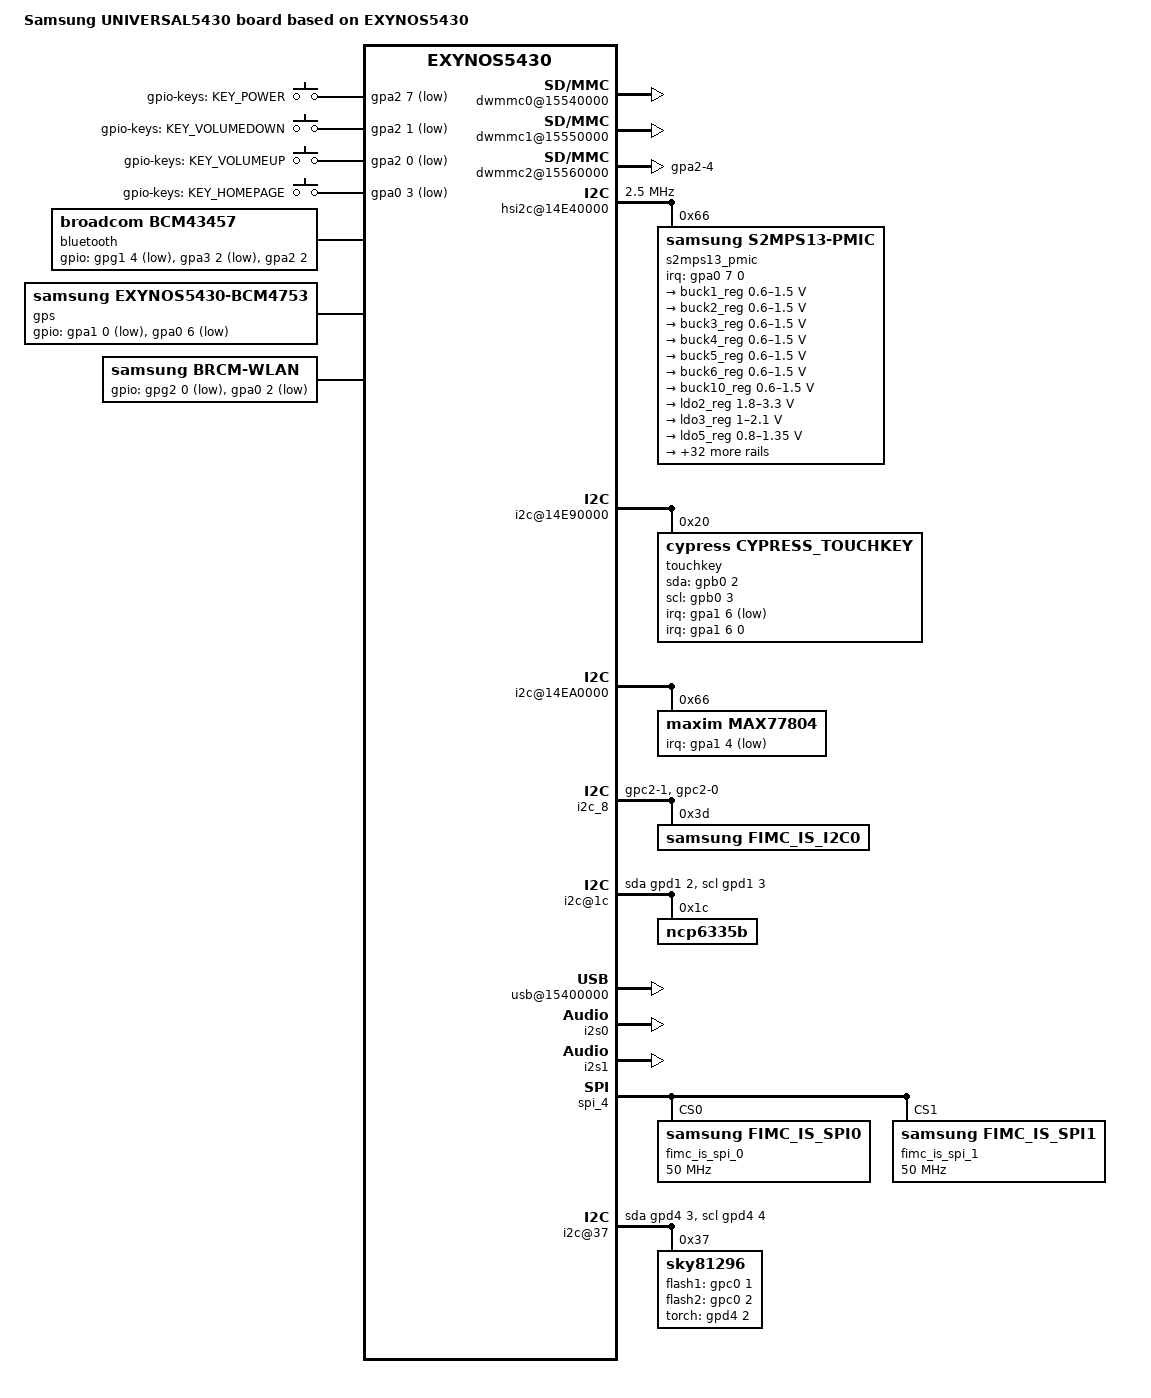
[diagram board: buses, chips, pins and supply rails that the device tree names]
/*
 * SAMSUNG UNIVERSAL5430 board device tree source
 *
 * Copyright (c) 2013 Samsung Electronics Co., Ltd.
 *		http://www.samsung.com
 *
 * This program is free software; you can redistribute it and/or modify
 * it under the terms of the GNU General Public License version 2 as
 * published by the Free Software Foundation.
*/

#include "exynos5430_evt0.dtsi"

/ {
	model = "Samsung UNIVERSAL5430 board based on EXYNOS5430";
	compatible = "samsung,UNIVERSAL5430", "samsung,exynos5430";

	chosen {
		bootargs = "console=ttySAC1,115200 vmalloc=512M";
	};

	fixed-rate-clocks {
		oscclk {
			compatible = "samsung,exynos5430-oscclk";
			clock-frequency = <24000000>;
		};
	};

	dwmmc0@15540000 {
		status = "okay";
		num-slots = <1>;
		broken-cd;
		bypass-smu;
		fixed_volt;
		only_once_tune;
		supports-highspeed;
		supports-hs200-mode;
		extra_tuning;
		fifo-depth = <0x80>;
		card-detect-delay = <200>;
		samsung,dw-mshc-ciu-div = <3>;
		samsung,dw-mshc-sdr-timing = <0 4 3>;
		samsung,dw-mshc-ddr-timing = <0 2 3>;
		samsung,dw-mshc-hs200-timing = <0 2 3>;
		samsung,dw-mshc-ddr200-timing = <0 2 1>;
		num-ref-clks = <8>;
		ciu_clkin = <25 50 50 100 200 100 200 400>;
		pinctrl-names = "default";
		pinctrl-0 = <&sd0_clk &sd0_cmd &sd0_rdqs &sd0_bus1 &sd0_bus4 &sd0_bus8>;

		slot@0 {
			reg = <0>;
			bus-width = <8>;
		};
	};

	dwmmc1@15550000 {
		status = "okay";
		num-slots = <1>;
		fixed_volt;
		only_once_tune;
		supports-highspeed;
		supports-sdr104-mode;
		keep-power-in-suspend;
		pm-ignore-notify;
		cd-type-external;
		fifo-depth = <0x40>;
		card-detect-delay = <200>;
		samsung,dw-mshc-ciu-div = <3>;
		samsung,dw-mshc-sdr-timing = <2 3 3>;
		samsung,dw-mshc-ddr-timing = <1 2 3>;
		num-ref-clks = <8>;
		ciu_clkin = <25 50 50 100 200 100 200 400>;
		pinctrl-names = "default";
		pinctrl-0 = <&sd1_clk &sd1_cmd &sd1_bus1 &sd1_bus4>;

		slot@0 {
			reg = <0>;
			bus-width = <4>;
		};
	};


	dwmmc2@15560000 {
		status = "okay";
		num-slots = <1>;
		supports-highspeed;
		fifo-depth = <0x40>;
		card-detect-delay = <200>;
		samsung,dw-mshc-ciu-div = <3>;
		samsung,dw-mshc-sdr-timing = <2 3 3>;
		samsung,dw-mshc-ddr-timing = <1 2 3>;
		num-ref-clks = <8>;
		ciu_clkin = <25 50 50 100 200 100 200 400>;
		pinctrl-names = "default";
		pinctrl-0 = <&sd2_clk &sd2_cmd &sd2_cd &sd2_bus1 &sd2_bus4 &dwmmc2_cd_irq>;

		gpio-controller;
		#gpio-cells = <2>;
		cd-gpio = <&gpa2 4 0xf>;

		slot@0 {
			reg = <0>;
			bus-width = <4>;
			disable-wp;
		};
	};

	pinctrl@10580000 {
		pmic_irq: pmic-irq {
			samsung,pins = "gpa0-7";
			samsung,pin-function = <0>;
			samsung,pin-pud = <3>;
			samsung,pin-drv = <3>;
		};

		chg_irq: chg-irq {
			samsung,pins = "gpa0-0";
			samsung,pin-function = <0>;
			samsung,pin-pud = <3>;
			samsung,pin-drv = <3>;
		};

		mfd_irq: mfd-irq {
			samsung,pins = "gpa1-4";
			samsung,pin-function = <0>;
			samsung,pin-pud = <0>;
			samsung,pin-drv = <0>;
		};

		fuel_irq: fuel-irq {
			samsung,pins = "gpa1-5";
			samsung,pin-function = <0>;
			samsung,pin-pud = <0>;
			samsung,pin-drv = <0>;
		};

		btp_irq: btp-irq {
			samsung,pins = "gpa1-7";
			samsung,pin-function = <0>;
			samsung,pin-pud = <3>;
			samsung,pin-drv = <3>;
		};

		dwmmc2_cd_irq: dwmmc2-cd-irq {
			samsung,pins = "gpa2-4";
			samsung,pin-function = <0>;
			samsung,pin-pud = <3>;
			samsung,pin-drv = <3>;
		};

		btp_reset: btp-reset {
			samsung,pins = "gpa3-1";
			samsung,pin-function = <0>;
			samsung,pin-pud = <3>;
			samsung,pin-drv = <3>;
		};
		ssp_irq: ssp-irq {
			samsung,pins = "gpa3-3";
			samsung,pin-function = <0xf>;
			samsung,pin-pud = <3>;
			samsung,pin-drv = <3>;
		};
		ssp_irq2: ssp-irq2 {
			samsung,pins = "gpa3-4";
			samsung,pin-function = <0>;
			samsung,pin-pud = <3>;
			samsung,pin-drv = <3>;
		};
		ssp_ap_int: ssp-ap-int {
			samsung,pins = "gpa3-7";
			samsung,pin-function = <0>;
			samsung,pin-pud = <3>;
			samsung,pin-drv = <3>;
		};
		hrm_int: hrm-int {
			samsung,pins = "gpa0-6";
			samsung,pin-function = <0>;
			samsung,pin-pud = <0>;
			samsung,pin-drv = <3>;
		};
	};
	pinctrl@14CC0000 {
		/* Warm reset information from AP */
		pm_wrsti: pm-wrsti {
			samsung,pins = "gpf5-4";
			samsung,pin-con-pdn = <3>;
		};
	};
	pinctrl@14CC0000 {
		/* touchkey i2c*/
		cfg_i2c: cfg-i2c {
			samsung,pins = "gpb0-3", "gpb0-2";
			samsung,pin-function = <3>;
			samsung,pin-pud = <0>;
			samsung,pin-drv = <0>;
		};
		cfg_gpio: cfg_gpio {
			samsung,pins = "gpb0-3", "gpb0-2";
			samsung,pin-function = <0>;
			samsung,pin-pud = <0>;
			samsung,pin-drv = <0>;
		};
	};

	pinctrl@10580000 {
		/* touchkey interrupt*/
		cfg_irq: cfg-irq {
			samsung,pins = "gpa1-6";
			samsung,pin-function = <0xf>;
			samsung,pin-pud = <0>;
			samsung,pin-drv = <0>;
		};
		cfg_input: cfg-input {
			samsung,pins = "gpa1-6";
			samsung,pin-function = <0>;
			samsung,pin-pud = <1>;
			samsung,pin-drv = <0>;
		};
	};

	hsi2c@14E40000 {
		samsung,hs-mode;
		clock-frequency = <2500000>;
		status = "okay";

		s2mps13_pmic@66 {
			compatible = "samsung,s2mps13-pmic";
			reg = <0x66>;
			interrupts = <7 0 0>;
			interrupt-parent = <&gpa0>;
			pinctrl-names = "default";
			pinctrl-0 = <&pmic_irq &pm_wrsti>;
			wtsr_smpl = <1>;

			regulators {
				buck1_reg: BUCK1 {
					regulator-name = "vdd_mif";
					regulator-min-microvolt = <600000>;
					regulator-max-microvolt = <1500000>;
					regulator-always-on;
					regulator-boot-on;
					regulator-ramp-delay = <12000>;
					regulator-initial-mode = <1>;
				};

				buck2_reg: BUCK2 {
					regulator-name = "vdd_eagle";
					regulator-min-microvolt = <600000>;
					regulator-max-microvolt = <1500000>;
					regulator-always-on;
					regulator-boot-on;
					regulator-ramp-delay = <12000>;
					regulator-initial-mode = <1>;
				};

				buck3_reg: BUCK3 {
					regulator-name = "vdd_kfc";
					regulator-min-microvolt = <600000>;
					regulator-max-microvolt = <1500000>;
					regulator-always-on;
					regulator-boot-on;
					regulator-ramp-delay = <12000>;
					regulator-initial-mode = <1>;
				};

				buck4_reg: BUCK4 {
					regulator-name = "vdd_int";
					regulator-min-microvolt = <600000>;
					regulator-max-microvolt = <1500000>;
					regulator-always-on;
					regulator-boot-on;
					regulator-ramp-delay = <12000>;
					regulator-initial-mode = <1>;
				};

				buck5_reg: BUCK5 {
					regulator-name = "vdd_disp_cam0";
					regulator-min-microvolt = <600000>;
					regulator-max-microvolt = <1500000>;
					regulator-always-on;
					regulator-boot-on;
					regulator-ramp-delay = <12000>;
					regulator-initial-mode = <1>;
				};

				buck6_reg: BUCK6 {
					regulator-name = "vdd_g3d";
					regulator-min-microvolt = <600000>;
					regulator-max-microvolt = <1500000>;
					regulator-always-on;
					regulator-boot-on;
					regulator-ramp-delay = <12000>;
					regulator-initial-mode = <1>;
				};

				buck10_reg: BUCK10 {
					regulator-name = "vdd_mem2";
					regulator-min-microvolt = <600000>;
					regulator-max-microvolt = <1500000>;
					regulator-always-on;
					regulator-boot-on;
					regulator-ramp-delay = <12000>;
					regulator-initial-mode = <1>;
				};

				ldo2_reg: LDO2 {
					regulator-name = "vqmmc";
					regulator-min-microvolt = <1800000>;
					regulator-max-microvolt = <3300000>;
					regulator-boot-on;
					regulator-ramp-delay = <12000>;
					regulator-initial-mode = <1>;
				};

				ldo3_reg: LDO3 {
					regulator-name = "vdd_ldo3";
					regulator-min-microvolt = <1000000>;
					regulator-max-microvolt = <2100000>;
					regulator-always-on;
					regulator-initial-mode = <3>;
				};

				ldo5_reg: LDO5 {
					regulator-name = "vdd_ldo5";
					regulator-min-microvolt = <800000>;
					regulator-max-microvolt = <1350000>;
					regulator-always-on;
					regulator-initial-mode = <1>;
				};

				ldo6_reg: LDO6 {
					regulator-name = "vdd_ldo6";
					regulator-min-microvolt = <800000>;
					regulator-max-microvolt = <1350000>;
					regulator-always-on;
					regulator-initial-mode = <1>;
				};

				ldo7_reg: LDO7 {
					regulator-name = "vdd_ldo7";
					regulator-min-microvolt = <1000000>;
					regulator-max-microvolt = <2100000>;
					regulator-always-on;
					regulator-initial-mode = <1>;
				};

				ldo8_reg: LDO8 {
					regulator-name = "vdd_ldo8";
					regulator-min-microvolt = <1000000>;
					regulator-max-microvolt = <2100000>;
					regulator-always-on;
					regulator-initial-mode = <3>;
				};

				ldo9_reg: LDO9 {
					regulator-name = "vdd_ldo9";
					regulator-min-microvolt = <1000000>;
					regulator-max-microvolt = <2100000>;
					regulator-always-on;
					regulator-initial-mode = <1>;
				};

				ldo10_reg: LDO10 {
					regulator-name = "vdd_ldo10";
					regulator-min-microvolt = <1400000>;
					regulator-max-microvolt = <3400000>;
					regulator-always-on;
					regulator-initial-mode = <1>;
				};

				ldo11_reg: LDO11 {
					regulator-name = "vdd_ldo11";
					regulator-min-microvolt = <800000>;
					regulator-max-microvolt = <1350000>;
					regulator-always-on;
					regulator-initial-mode = <1>;
				};

				ldo12_reg: LDO12 {
					regulator-name = "vdd_ldo12";
					regulator-min-microvolt = <800000>;
					regulator-max-microvolt = <1350000>;
					regulator-always-on;
					regulator-initial-mode = <1>;
				};

				ldo13_reg: LDO13 {
					regulator-name = "vdd_ldo13";
					regulator-min-microvolt = <800000>;
					regulator-max-microvolt = <1350000>;
					regulator-always-on;
					regulator-initial-mode = <1>;
				};

				ldo14_reg: LDO14 {
					regulator-name = "vdd_ldo14";
					regulator-min-microvolt = <800000>;
					regulator-max-microvolt = <1350000>;
					regulator-always-on;
					regulator-initial-mode = <1>;
				};

				ldo15_reg: LDO15 {
					regulator-name = "vdd_ldo15";
					regulator-min-microvolt = <800000>;
					regulator-max-microvolt = <1350000>;
					regulator-always-on;
					regulator-initial-mode = <1>;
				};

				ldo16_reg: LDO16 {
					regulator-name = "vdd_ldo16";
					regulator-min-microvolt = <1400000>;
					regulator-max-microvolt = <3400000>;
					regulator-always-on;
					regulator-initial-mode = <1>;
				};

				ldo17_reg: LDO17 {
					regulator-name = "vdd_vmmc";
					regulator-min-microvolt = <1400000>;
					regulator-max-microvolt = <3400000>;
					regulator-always-on;
					regulator-initial-mode = <1>;
				};

				ldo18_reg: LDO18 {
					regulator-name = "vdd_ldo18";
					regulator-min-microvolt = <1000000>;
					regulator-max-microvolt = <2100000>;
					regulator-always-on;
					regulator-initial-mode = <3>;
				};

				ldo19_reg: LDO19 {
					regulator-name = "VDDA_1.8V_COMP";
					regulator-min-microvolt = <1800000>;
					regulator-max-microvolt = <1800000>;
					regulator-initial-mode = <3>;
				};

				ldo20_reg: LDO20 {
					regulator-name = "vdd_ldo20";
					regulator-min-microvolt = <1400000>;
					regulator-max-microvolt = <3400000>;
					regulator-always-on;
					regulator-initial-mode = <3>;
				};

				ldo21_reg: LDO21 {
					regulator-name = "VT_CAM_1.8V";
					regulator-min-microvolt = <1800000>;
					regulator-max-microvolt = <1800000>;
					regulator-initial-mode = <3>;
				};

				ldo22_reg: LDO22 {
					regulator-name = "CAM_IO_1.8V_AP";
					regulator-min-microvolt = <1800000>;
					regulator-max-microvolt = <1800000>;
					regulator-initial-mode = <3>;
				};

				ldo23_reg: LDO23 {
					regulator-name = "CAM_SEN_CORE_1.2V_AP";
					regulator-min-microvolt = <1200000>;
					regulator-max-microvolt = <1200000>;
					regulator-initial-mode = <3>;
				};

				ldo24_reg: LDO24 {
					regulator-name = "VT_CAM_1.2V";
					regulator-min-microvolt = <1200000>;
					regulator-max-microvolt = <1200000>;
					regulator-initial-mode = <3>;
				};

				ldo25_reg: LDO25 {
					regulator-name = "CAM_SEN_A2.8V_AP";
					regulator-min-microvolt = <2800000>;
					regulator-max-microvolt = <2800000>;
					regulator-initial-mode = <3>;
				};

				ldo26_reg: LDO26 {
					regulator-name = "CAM_AF_2.8V_AP";
					regulator-min-microvolt = <2800000>;
					regulator-max-microvolt = <2800000>;
					regulator-initial-mode = <3>;
				};

				ldo27_reg: LDO27 {
					regulator-name = "vdd_ldo27";
					regulator-min-microvolt = <1400000>;
					regulator-max-microvolt = <3400000>;
					regulator-always-on;
					regulator-initial-mode = <3>;
				};

				ldo28_reg: LDO28 {
					regulator-name = "vdd_ldo28";
					regulator-min-microvolt = <1000000>;
					regulator-max-microvolt = <2100000>;
					regulator-always-on;
					regulator-initial-mode = <3>;
				};

				ldo29_reg: LDO29 {
					regulator-name = "VT_CAM_2.8V";
					regulator-min-microvolt = <2800000>;
					regulator-max-microvolt = <2800000>;
					regulator-always-on;
					regulator-initial-mode = <3>;
				};

				ldo30_reg: LDO30 {
					regulator-name = "tsp_avdd";
					regulator-min-microvolt = <1400000>;
					regulator-max-microvolt = <3400000>;
					regulator-initial-mode = <3>;
				};

				ldo31_reg: LDO31 {
					regulator-name = "tsp_io";
					regulator-min-microvolt = <1000000>;
					regulator-max-microvolt = <2100000>;
					regulator-initial-mode = <3>;
				};

				ldo32_reg: LDO32 {
					regulator-name = "vtouch_1.8v";
					regulator-min-microvolt = <1000000>;
					regulator-max-microvolt = <2100000>;
					regulator-initial-mode = <3>;
				};

				ldo33_reg: LDO33 {
					regulator-name = "vtouch_3.3v";
					regulator-min-microvolt = <1400000>;
					regulator-max-microvolt = <3400000>;
					regulator-initial-mode = <3>;
				};

				ldo34_reg: LDO34 {
					regulator-name = "vdd_ldo34";
					regulator-min-microvolt = <1000000>;
					regulator-max-microvolt = <2100000>;
					regulator-always-on;
					regulator-initial-mode = <3>;
				};
				ldo36_reg: LDO36 {
					regulator-name = "vdd_ldo36";
					regulator-min-microvolt = <800000>;
					regulator-max-microvolt = <1350000>;
					regulator-always-on;
					regulator-initial-mode = <3>;
				};

				ldo37_reg: LDO37 {
					regulator-name = "vdd_ldo37";
					regulator-min-microvolt = <1000000>;
					regulator-max-microvolt = <2100000>;
					regulator-always-on;
					regulator-initial-mode = <3>;
				};

				ldo38_reg: LDO38 {
					regulator-name = "vdd_ldo38";
					regulator-min-microvolt = <1400000>;
					regulator-max-microvolt = <3400000>;
					regulator-always-on;
					regulator-initial-mode = <3>;
				};
			};
		};
	};

	i2c@14E90000 {
		samsung,i2c-sda-delay = <100>;
		samsung,i2c-max-bus-freq = <400000>;
		status = "okay";
		pinctrl-names = "default","on_i2c","off_i2c";
		pinctrl-0 = <&i2c5_bus>;
		pinctrl-1 = <&cfg_i2c>;
		pinctrl-2 = <&cfg_gpio>;
		touchkey@20 {
			pinctrl-names = "on_irq","off_irq";
			pinctrl-0 = <&cfg_irq>;
			pinctrl-1 = <&cfg_input>;
			compatible = "cypress,cypress_touchkey";
			reg = <0x20>;
			interrupts = <6 0 0>;
			interrupt-parent = <&gpa1>;
			cypress,sda-gpio = <&gpb0 2 0>;
			cypress,scl-gpio = <&gpb0 3 0>;
			cypress,irq-gpio = <&gpa1 6 1>;
		};
	};

	i2c@14EA0000 {
		samsung,i2c-sda-delay = <100>;
		samsung,i2c-max-bus-freq = <400000>;
		status = "okay";
		max77804@66 {
			compatible = "maxim,max77804";
			reg = <0x66>;
			pinctrl-names = "default";
			pinctrl-0 = <&mfd_irq>;
			max77804,irq-gpio = <&gpa1 4 1>;
			max77804,wakeup;
		};
	};

	i2c_8: i2c@14130000 {
                compatible = "samsung,exynos5430-fimc-i2c";
                reg = <0x14130000 0x1000>;
                interrupts = <0 166 0>; /* NON */
                #address-cells = <1>;
                #size-cells = <0>;
                pinctrl-names = "default";
                pinctrl-0 = <&fimc_is_i2c_0>;
                clocks = <&clock 4184>, <&clock 4184>; /* No clock gating */
                clock-names = "rate_i2c","gate_i2c";
                samsung,i2c-sda-delay = <100>;
                samsung,i2c-max-bus-freq = <400000>;
                status = "okay";

                fimc_is_i2c0@3d {
                        compatible = "samsung,fimc_is_i2c0";
                        reg = <0x3d>;
                };
        };

	i2c@1c{
		compatible = "i2c-gpio";
		gpios = <&gpd1 2 0 /* sda */
			 &gpd1 3 0 /* scl */
			>;
		i2c-gpio,delay-us = <2>;
		#address-cells = <1>;
		#size-cells = <0>;
		status = "okay";

		ncp6335b@1c {
			compatible = "ncp6335b";
			reg = <0x1c>;
			ncp6335b,dev_name = "ncp6335b";
		};
	};

	/*disp_driver {*/
	decon_fb: decon_fb {
		oled-id-gpio = <&gpf2 1 0x0>;
		lcd_info = <&s6e3ha0 &s6e3fa2>;
		mipi_dsi: mipi_dsi {
			gpios = <&gpv7 2 0x1>, <&gpf1 5 0x1>;

			/* Interface definition: 0 - DSIM_COMMAND,
						 1 - DSIM_VDEO */
			e_interface = <0>;

			/* Pixel format : 0 - DSIM_CMD_3BPP,
					  1 - DSIM_CMD_8BPP,
					  2 - DSIM_CMD_12BPP,
					  3 - DSIM_CMD_16BPP,
					  4 - DSIM_VID_16BPP_565,
					  5 - DSIM_VID_18BPP_666PACKED,
					  6 - DSIM_18BPP_666LOOSELYPACKED,
					  7 - DSIM_24BPP_888 */
			e_pixel_format = <7>;

			/* main frame fifo auto flush at VSYNC pulse */
			auto_flush = <0>;
			eot_disable = <1>;
			auto_vertical_cnt = <0>;
			hse = <0>;
			hfp = <0>;
			hbp = <0>;
			hsa = <0>;

			/* num of data lane : 0 - DSIM_DATA_LANE_1,
					      1 - DSIM_DATA_LANE_2,
					      2 - DSIM_DATA_LANE_3,
					      3 - DSIM_DATA_LANE_4 */
			e_no_data_lane = <3>;
			/* byte clock divider : 0 - DSIM_PLL_OUT_DIV8,
						1 - DSIM_EXT_CLK_DIV8,
						2 - DSIM_EXT_CLK_BYPASS */
			e_byte_clk = <0>;
			/* Burst mode : 0 - DSIM_NON_BURST_SYNC_EVENT,
					2 - DSIM_NON_BURST_SYNC_PULSE,
					1 - DSIM_BURST
					4 - DSIM_NON_VIDEO_MODE */
			e_burst_mode = <1>;
			/* D-PHY PLL stable time spec :min = 200usec ~ max 400usec */
			pll_stable_time = <500>;
			/* stop state holding counter after bta change count 0 ~ 0xfff */
			stop_holding_cnt = <0x0fff>;
			/* bta timeout 0 ~ 0xff */
			bta_timeout = <0xff>;
			/* lp rx timeout 0 ~ 0xffff */
			rx_timeout = <0xffff>;
		};
		s6e3ha0: s6e3ha0_wqhd {
			mode = <1>;
			resolution = <1440 2560>;
			size = <65 115>;
			timing,refresh = <60>;
			timing,h-porch = <1 1 1>;
			timing,v-porch = <15 1 1>;
			timing,dsi-hs-clk = <1100>;
			timing,dsi-escape-clk = <20>;
			mic = <1>;
		};
		s6e3fa2: s6e3fa2_fhd {
			mode = <1>;
			resolution = <1080 1920>;
			size = <65 115>;
			timing,refresh = <60>;
			timing,h-porch = <10 1 1>;
			timing,v-porch = <1 1 1>;
			timing,dsi-hs-clk = <1100>;
			timing,dsi-escape-clk = <20>;
		};
	};

	usb@15400000 {
		status = "okay";
	};

	usb_notifier {
		compatible = "samsung,usb-notifier";
		usb30_redriver {
			gpios_redriver_en = <&gpf3 2 0x1>; /* USB3.0_REDRIVER_EN */
		};
		host_notifier {
			usb,host_notifier_dev_names = "usb_otg";
			usb,host_booster;
		};
	};

	gpio_keys {
		compatible = "gpio-keys";
		#address-cells = <1>;
		#size-cells = <0>;
		poll-interval = <100>;
		button@1 {
			label = "gpio-keys: KEY_POWER";
			interrupts = <7 0 0>;
			interrupt-parent = <&gpa2>;
			linux,code = <116>;
			gpios = <&gpa2 7 0xf>;
			gpio-key,wakeup = <1>;
		};
		button@2 {
			label = "gpio-keys: KEY_VOLUMEDOWN";
			interrupts = <1 0 0>;
			interrupt-parent = <&gpa2>;
			linux,code = <114>;
			gpios = <&gpa2 1 0xf>;
		};
		button@3 {
			label = "gpio-keys: KEY_VOLUMEUP";
			interrupts = <0 0 0>;
			interrupt-parent = <&gpa2>;
			linux,code = <115>;
			gpios = <&gpa2 0 0xf>;
		};
		button@4 {
			label = "gpio-keys: KEY_HOMEPAGE";
			interrupts = <3 0 0>;
			interrupt-parent = <&gpa0>;
			linux,code = <172>;
			gpios = <&gpa0 3 0xf>;
		};
	};

	sec_input_debug-keys {
		compatible = "sec_input_debug-keys";

		button@1 {
			label = "debug-keys: KEY_POWER";
			linux,code = <116>;
		};
		button@2 {
			label = "debug-keys: KEY_VOLUMEDOWN";
			linux,code = <114>;
			state = "true";
		};
		button@3 {
			label = "debug-keys: KEY_VOLUMEUP";
			linux,code = <115>;
		};
	};

	i2s0: i2s@11440000 {
		status = "okay";
	};

	i2s1: i2s@14D60000 {
		status = "okay";
	};

	spi_4: spi@141b0000 {
		clocks = <&clock 2626>, <&clock 4081>; /* Workaround for SPI read in A5 */
		clock-names = "spi", "spi_busclk0";    /* Must be removed later */
		#address-cells = <1>;
		#size-cells = <0>;

		num-cs = <2>;

		fimc_is_spi_0@0 {
			compatible = "samsung,fimc_is_spi0";
			spi-max-frequency = <50000000>;
			reg = <0x0>;

			controller-data {
				samsung,spi-feedback-delay = <0>;
			};
		};

		fimc_is_spi_1@1 {
			compatible = "samsung,fimc_is_spi1";
			fimc_is_spi_sclk = "gpc3-4";
			fimc_is_spi_ssn = "gpc3-5";
			fimc_is_spi_miso = "gpc3-6";
			fimc_is_spi_mois = "gpc3-7";
			spi-max-frequency = <50000000>;
			reg = <0x1>;
			pinctrl-names = "default";
			pinctrl-0 = <&fimc_is_comp_int>;

			controller-data {
				samsung,spi-feedback-delay = <0>;
			};
		};
	};

	fimc_is_sensor0: fimc_is_sensor@12100000 {
		scenario = <0>;
		gpio_reset = <&gpc0 4 0x1>;
		gpios_comp_en = <&gpg1 2 0x1>; /* COMP_EN */
		gpios_comp_reset = <&gpf5 7 0x1>; /* COMP_rstn */
		id = <0>;
		mclk_ch = <0>;
		csi_ch = <0>;
		flite_ch = <0>;
		i2c_ch = <0x100>;
		i2c_addr = <0x5A5A>;
		flash_first_gpio = <1>;
		flash_second_gpio = <2>;
		sensor_name = "2p2";
		sensor_id = <10>;
		is_bns = <0>;
		status = "okay";
	};

	fimc_is_sensor1: fimc_is_sensor@12110000 {
		scenario = <0>;
		gpio_reset = <&gpc0 3 0x1>;
		gpio_standby = <&gpc0 0 0x1>;
		id = <1>;
		mclk_ch = <2>;
		csi_ch = <2>;
		flite_ch = <2>;
		i2c_ch = <0x2>;
		i2c_addr = <0x6A>;
		sensor_name = "8b1";
		sensor_id = <11>;
		is_bns = <0>;
		status = "okay";
	};

	fimc_is@14000000 {
		interrupts = <0 165 0>; /* Remove ISP_GIC to use FIMC IS i2c channel in host */
		companion_spi_channel = <1>;
		fimc_is_dvfs {
			default_int = <667000>; /* L0 */
			default_cam = <666000>; /* L0 */
			default_mif = <800000>; /* L0 */
			default_i2c = <0>;

			front_preview_int = <667000>; /* L0 */
			front_preview_cam = <222000>; /* L4 */
			front_preview_mif = <800000>; /* L0 */
			front_preview_i2c = <0>;

			front_capture_int = <667000>; /* L0 */
			front_capture_cam = <222000>; /* L4 */
			front_capture_mif = <800000>; /* L0 */
			front_capture_i2c = <0>;

			front_camcording_int = <667000>; /* L0 */
			front_camcording_cam = <222000>; /* L4 */
			front_camcording_mif = <800000>; /* L0 */
			front_camcording_i2c = <0>;

			front_vt1_int = <667000>; /* L0 */
			front_vt1_cam = <222000>; /* L4 */
			front_vt1_mif = <800000>; /* L0 */
			front_vt1_i2c = <0>;

			front_vt2_int = <667000>; /* L0 */
			front_vt2_cam = <222000>; /* L4 */
			front_vt2_mif = <800000>; /* L0 */
			front_vt2_i2c = <0>;

			rear_preview_int = <667000>; /* L0 */
			rear_preview_cam = <333000>; /* L3 */
			rear_preview_mif = <800000>; /* L0 */
			rear_preview_i2c = <0>;

			rear_capture_int = <667000>; /* L0 */
			rear_capture_cam = <444000>; /* L2 */
			rear_capture_mif = <800000>; /* L0 */
			rear_capture_i2c = <0>;

			rear_camcording_int = <667000>; /* L0 */
			rear_camcording_cam = <333000>; /* L3 */
			rear_camcording_mif = <800000>; /* L0 */
			rear_camcording_i2c = <0>;

			dual_preview_int = <667000>; /* L0 */
			dual_preview_cam = <555000>; /* L1 */
			dual_preview_mif = <800000>; /* L0 */
			dual_preview_i2c = <0>;

			dual_capture_int = <667000>; /* L0 */
			dual_capture_cam = <666000>; /* L0 */
			dual_capture_mif = <800000>; /* L0 */
			dual_capture_i2c = <0>;

			dual_camcording_int = <667000>; /* L0 */
			dual_camcording_cam = <555000>; /* L1 */
			dual_camcording_mif = <800000>; /* L0 */
			dual_camcording_i2c = <0>;

			high_speed_fps_int = <667000>; /* L0 */
			high_speed_fps_cam = <666000>; /* L0 */
			high_speed_fps_mif = <800000>; /* L0 */
			high_speed_fps_i2c = <0>;

			dis_enable_int = <667000>; /* L0 */
			dis_enable_cam = <666000>; /* L0 */
			dis_enable_mif = <800000>; /* L0 */
			dis_enable_i2c = <0>;

			max_int = <667000>; /* L0 */
			max_cam = <666000>; /* L0 */
			max_mif = <800000>; /* L0 */
			max_i2c = <0>;
		};
	};

	pinctrl@14CC0000 {
		fimc_is_ch0_i2c: fimc-is-ch0_i2c {
			samsung,pins = "gpc2-3", "gpc2-2";
			samsung,pin-function = <2>;
			samsung,pin-pud = <3>;
			samsung,pin-drv = <6>;
		};
		fimc_is_i2c_0: fimc-is-i2c-0 {
			samsung,pins = "gpc2-1", "gpc2-0";
			samsung,pin-function = <2>;
                        samsung,pin-pud = <3>;
                        samsung,pin-drv = <6>;
		};
		fimc_is_flash: fimc-is-flash {
			samsung,pins = "gpc0-2", "gpc0-1";
			samsung,pin-function = <2>;
			samsung,pin-pud = <0>;
			samsung,pin-drv = <0>;
		};
		driver_flash: driver-flash {
			samsung,pins = "gpc0-2", "gpc0-1";
			samsung,pin-function = <1>;
			samsung,pin-pud = <0>;
			samsung,pin-drv = <0>;
		};
		fimc_is_comp_int: fimc-is-comp-int {
			samsung,pins = "gpc1-0";
			samsung,pin-function = <3>;
			samsung,pin-pud = <0>;
			samsung,pin-drv = <0>;
		};
		sky_torch: sky-torch {
			samsung,pins = "gpd4-2";
			samsung,pin-function = <1>;
			samsung,pin-pud = <0>;
			samsung,pin-drv = <0>;
		};
	};

	pinctrl@14CC0000 {
		btp_ldo: btp-ldo {
			samsung,pins = "gpf4-0";
			samsung,pin-function = <1>;
			samsung,pin-pud = <1>;
			samsung,pin-drv = <0>;
		};

		ssp_reset: ssp-reset {
			samsung,pins = "gpd4-0";
			samsung,pin-function = <0>;
			samsung,pin-pud = <3>;
			samsung,pin-drv = <3>;
		};
	};

	pinctrl@14CC0000 {
		uart0_rts: uart0-rts {
			samsung,pins = "gpd0-3";
			samsung,pin-function = <2>;
			samsung,pin-pud = <0>;
			samsung,pin-con-pdn = <1>;
			samsung,pin-pud-pdn = <0>;
		};

		uart0_cts: uart0-cts {
			samsung,pins = "gpd0-2";
			samsung,pin-function = <2>;
			samsung,pin-pud = <0>;
			samsung,pin-con-pdn = <2>;
			samsung,pin-pud-pdn = <1>;
		};

		uart0_tx: uart0-tx {
			samsung,pins = "gpd0-1";
			samsung,pin-function = <2>;
			samsung,pin-pud = <0>;
			samsung,pin-con-pdn = <2>;
			samsung,pin-pud-pdn = <3>;		};

		uart0_rx: uart0-rx {
			samsung,pins = "gpd0-0";
			samsung,pin-function = <2>;
			samsung,pin-pud = <3>;
			samsung,pin-con-pdn = <2>;
			samsung,pin-pud-pdn = <3>;
		};
	};

	serial@14C10000 {
		pinctrl-0 = <&uart0_rts &uart0_cts &uart0_tx &uart0_rx>;
	};

	i2s_dummy: dummy-i2s {
		compatible = "samsung,dummy-i2s";
		status = "okay";
	};

	audio_codec_dummy: dummy-codec {
		compatible = "samsung,dummy-codec";
		status = "okay";
	};

	sound {
		compatible = "samsung,pacific-arizona";
		samsung,audio-cpu = <&i2s0		/* primary */
				     &i2s0		/* secondary */
				     &i2s_dummy
				     &i2s_dummy
				     &i2s_dummy>;
		samsung,audio-cpu-hdmi = <&i2s1>;	/* hdmi */
		samsung,audio-codec = <&audio_codec
				       &audio_codec
				       &audio_codec
				       &audio_codec
				       &audio_codec_dummy>;
		status = "okay";
	};

	pinctrl@10580000 {
		cfg_btgpio: cfg_btgpio {
			samsung,pins = "gpa2-2";
			samsung,pin-function = <0>;
			samsung,pin-pud = <3>;
			samsung,pin-drv = <0>;
		};
	};

	bluetooth {
		compatible = "broadcom,bcm43457";

		gpios = <&gpg1 4 1	/*BT_EN*/
				&gpa3 2 1	/*BT_WAKE*/
				&gpa2 2 0	/*BT_HOST_WAKE*/ >;

		pinctrl-names = "default";
		pinctrl-0=<&cfg_btgpio>;
		status = "okay";
	};

	gps {
		compatible = "samsung,exynos5430-bcm4753";
		gpios = <&gpa1 0 0x1
				&gpa0 6 0xf
				>;
		status = "okay";
	};

	muic {
		status = "disabled";
		muic,support-list = "MHL","OTG","Jig USB On","Jig UART Off",
				    "Jig UART Off + VB","TA","USB","CDP",
				    "Deskdock","Deskdock + VB";
	};

	i2c@37 {
		compatible = "i2c-gpio";
		gpios = <&gpd4 3 0
		&gpd4 4 0
		>;
		i2c-gpio,delay-us = <2>;
		#address-cells = <1>;
		#size-cells = <0>;
		status = "okay";

		sky81296@37 {
			compatible = "sky81296";
			reg = <0x37>;
			sky81296,dev_name = "sky81296";
			pinctrl-names = "driver-flash", "sky-torch";
			pinctrl-0 = <&driver_flash &sky_torch>;
			pinctrl-1 = <&sky_torch>;
			sky81296,flash1-gpio = <&gpc0 1 0>;
			sky81296,flash2-gpio = <&gpc0 2 0>;
			sky81296,torch-gpio = <&gpd4 2 0>;
		};
	};

	wlan {
		compatible = "samsung,brcm-wlan";
		gpios = <&gpg2 0 0x1 /* WLAN_EN */
				&gpa0 2 0xF	/* WLAN_HOST_WAKE */
				>;
		status = "okay";
	};

	ion {
		compatible = "samsung,exynos5430-ion";

		contig-names = "common",
			       "mfc_sh",
			       "g2d_wfd",
			       "video",
			       "mfc_input",
			       "sectbl",
			       "mfc_fw",
			       "mfc_nfw";

		contig = <0 0x2000000 0x0>,
		         <2 0x200000 0x0>,
		         <10 0x800000 0x0>,
		         <11 0x14000000 0x0>,
		         <7 0x2400000 0x0>,
		         <9 0x400000 0x0>,
		         <8 0x400000 0x0>,
		         <12 0x400000 0x0>;

		ion_noncontig_heap {
			id-type = <0 0>;
		};

		exynos_contig_heap {
			id-type = <4 6>;
		};
	};
};
